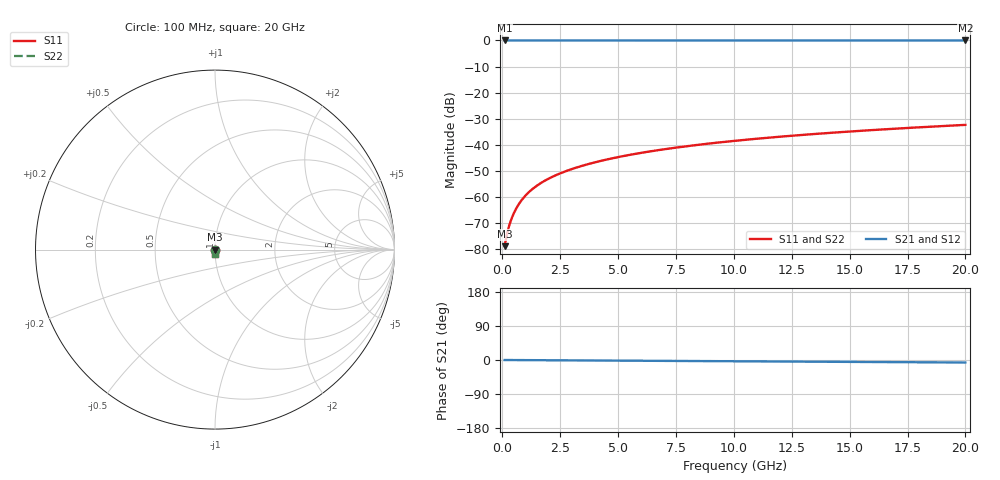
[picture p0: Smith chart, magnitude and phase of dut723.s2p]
! Touchstone file exported from HFSS 2026.1.0
!  File:  C:/ffzhzh/LocalFiles/Ansys_Project_Files/temp_train_TSV_723_1783182349_43440.aedt
!  Generated:  12:27:09 AM Jul  5, 2026
!  Design:  TSV
!  Project:  temp_train_TSV_723_1783182349_43440
! Variables:
!  h_bsmrdl = 2um
!  h_ox = 20um
!  h_rdl = 5um
!  h_sub = 64.2um
!  h_tmrdl = 5um
!  h_tsv = 64.2um
!  h_via = 3um
!  l_bsmrdl = 300um
!  l_sub = 426.4um
!  l_tmrdl = 200um
!  m_sub = 200um
!  pitch = 43.33um
!  r_tsv = 13.2um
!  s_tmrdl = 10um
!  w_bsmrdl = 18um
!  w_sub = 500um
!  w_tmrdl = 12um
!  x_tsv_center1 = 206um
!  x_tsv_center2 = 524um
!  x_tsv_center3 = 736um
!  x_tsv_center4 = 1054um
!  x_tsv_center5 = 1266um
!  x_tsv_center6 = 1584um
# GHz S MA R 50.000000
! Terminal data exported
! Port[1] = TSV1_1_T1
! Port[2] = TSV1_1_T2
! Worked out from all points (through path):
!   200 points, 100 MHz to 20 GHz, reference 50 ohm
!   highest |S21| = 0.00 dB at 100 MHz (marker M1); lowest = 0.0 dB at 20 GHz (marker M2)
!   lowest |S11| = -79.0 dB at 100 MHz (marker M3), VSWR 1.00, Z = 50 - j0.00839 ohm
!   |S11| at or under -10 dB: start of sweep to end of sweep
!   |S22| runs from -79.0 to -32.4 dB; largest |S21 - S12| = 0
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0.1  0.0001127 -48.1  0.9999 -0.0  0.9999 -0.0  0.0001127 -48.1
! Gamma 0 0 0 0
! Port Impedance 50 0 50 0
0.2  0.0001915 -63.1  0.9999 -0.1  0.9999 -0.1  0.0001915 -63.1
0.3  0.0002823 -68.6  0.9999 -0.1  0.9999 -0.1  0.0002823 -68.6
0.4  0.0003809 -71.3  0.9999 -0.1  0.9999 -0.1  0.0003809 -71.3
0.5  0.0004854 -73.0  0.9999 -0.2  0.9999 -0.2  0.0004854 -73.0
0.6  0.0005944 -74.3  0.9998 -0.2  0.9998 -0.2  0.0005944 -74.3
0.8  0.0008207 -76.3  0.9998 -0.3  0.9998 -0.3  0.0008207 -76.3
1.1  0.00117 -78.7  0.9998 -0.4  0.9998 -0.4  0.00117 -78.7
1.3  0.001404 -79.9  0.9997 -0.4  0.9997 -0.4  0.001404 -79.9
1.5  0.001639 -80.9  0.9997 -0.5  0.9997 -0.5  0.001639 -80.9
1.8  0.001991 -82.1  0.9997 -0.6  0.9997 -0.6  0.001991 -82.1
2.1  0.002343 -83.1  0.9997 -0.7  0.9997 -0.7  0.002343 -83.1
2.7  0.003048 -84.4  0.9996 -0.9  0.9996 -0.9  0.003048 -84.4
3.5  0.00399 -85.6  0.9996 -1.2  0.9996 -1.2  0.00399 -85.6
4.2  0.00482 -86.4  0.9996 -1.4  0.9996 -1.4  0.00482 -86.4
5  0.005772 -87.1  0.9995 -1.7  0.9995 -1.7  0.005772 -87.1
6.8  0.007933 -88.3  0.9994 -2.3  0.9994 -2.3  0.007933 -88.3
8.3  0.009744 -89.2  0.9993 -2.8  0.9993 -2.8  0.009744 -89.2
10.1  0.01192 -90.2  0.9993 -3.4  0.9993 -3.4  0.01192 -90.2
13.4  0.01593 -91.7  0.9991 -4.5  0.9991 -4.5  0.01593 -91.7
16.7  0.01994 -93.1  0.9989 -5.5  0.9989 -5.5  0.01994 -93.1
20  0.02397 -94.4  0.9988 -6.6  0.9988 -6.6  0.02397 -94.4
